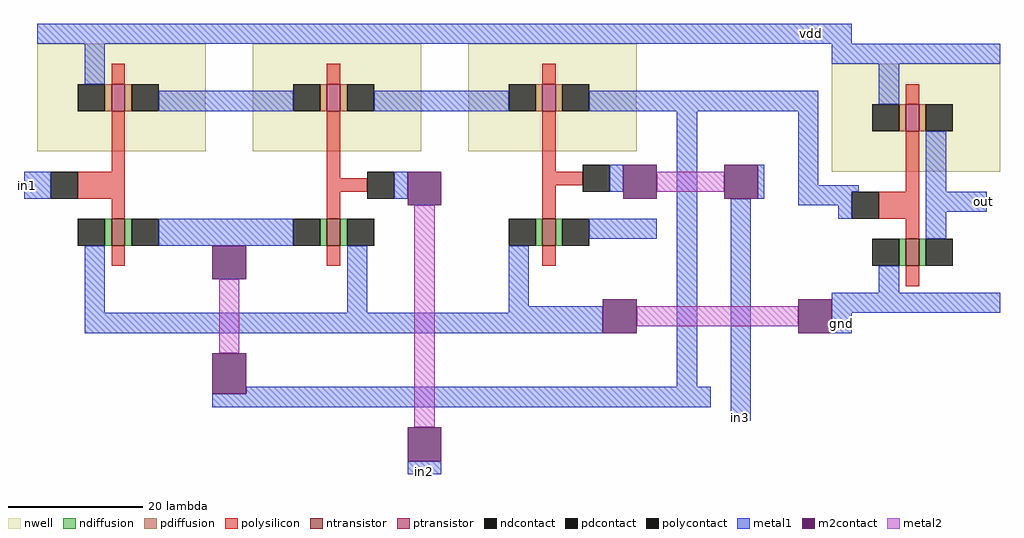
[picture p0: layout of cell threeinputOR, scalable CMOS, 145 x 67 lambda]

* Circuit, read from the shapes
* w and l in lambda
.subckt threeinputOR gnd in1 in2 in3 out vdd
M1 not_0/in in1 gnd VSUBS nfet w=4 l=2
M2 gnd in2 not_0/in VSUBS nfet w=4 l=2
M3 n1 in3 gnd VSUBS nfet w=4 l=2
M4 out not_0/in gnd VSUBS nfet w=4 l=2
M5 n2 in1 vdd n3 pfet w=4 l=2
M6 n4 in2 n2 n5 pfet w=4 l=2
M7 not_0/in in3 n4 n6 pfet w=4 l=2
M8 out not_0/in vdd n7 pfet w=4 l=2
.ends

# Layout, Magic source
magic
tech scmos
<< metal1 >>
rect 90 63 122 66
rect 99 53 117 56
rect -1 40 0 44
rect 114 42 117 53
rect 114 41 123 42
rect 74 20 85 24
rect 104 7 107 40
rect 114 39 120 41
rect 141 38 142 41
rect 119 25 120 26
rect 119 20 122 25
rect 56 -1 61 0
<< m2contact >>
rect 85 20 90 25
rect 114 20 119 25
<< metal2 >>
rect 90 21 114 24
use threeinputNOR  threeinputNOR_0
transform 1 0 1 0 1 47
box -1 -47 108 19
use not  not_0
transform 1 0 119 0 1 44
box 0 -21 25 19
<< labels >>
rlabel metal1 104 7 107 8 1 in3
rlabel metal1 56 -1 61 0 1 in2
rlabel metal1 -1 40 0 44 3 in1
rlabel metal1 111 63 121 66 5 vdd
rlabel metal1 119 20 122 23 1 gnd
rlabel metal1 141 38 142 41 7 out
<< end >>

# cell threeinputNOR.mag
magic
tech scmos
<< nwell >>
rect 0 0 25 16
rect 32 0 57 16
rect 64 0 89 16
<< ntransistor >>
rect 11 -14 13 -10
rect 43 -14 45 -10
rect 75 -14 77 -10
<< ptransistor >>
rect 11 6 13 10
rect 43 6 45 10
rect 75 6 77 10
<< ndiffusion >>
rect 10 -14 11 -10
rect 13 -14 14 -10
rect 42 -14 43 -10
rect 45 -14 46 -10
rect 74 -14 75 -10
rect 77 -14 78 -10
<< pdiffusion >>
rect 10 6 11 10
rect 13 6 14 10
rect 42 6 43 10
rect 45 6 46 10
rect 74 6 75 10
rect 77 6 78 10
<< ndcontact >>
rect 6 -14 10 -10
rect 14 -14 18 -10
rect 38 -14 42 -10
rect 46 -14 50 -10
rect 70 -14 74 -10
rect 78 -14 82 -10
<< pdcontact >>
rect 6 6 10 10
rect 14 6 18 10
rect 38 6 42 10
rect 46 6 50 10
rect 70 6 74 10
rect 78 6 82 10
<< polysilicon >>
rect 11 10 13 13
rect 43 10 45 13
rect 75 10 77 13
rect 11 -3 13 6
rect 6 -7 13 -3
rect 11 -10 13 -7
rect 43 -4 45 6
rect 75 -3 77 6
rect 43 -6 49 -4
rect 43 -10 45 -6
rect 75 -5 81 -3
rect 75 -10 77 -5
rect 11 -17 13 -14
rect 43 -17 45 -14
rect 75 -17 77 -14
<< polycontact >>
rect 2 -7 6 -3
rect 49 -7 53 -3
rect 81 -6 85 -2
<< metal1 >>
rect 0 16 89 19
rect 7 10 10 16
rect 18 6 38 9
rect 50 6 70 9
rect 82 6 98 9
rect -1 -7 2 -3
rect 53 -7 55 -3
rect 85 -6 87 -2
rect 18 -14 38 -10
rect 82 -13 92 -10
rect 7 -24 10 -14
rect 46 -24 49 -14
rect 70 -24 73 -14
rect 7 -27 73 -24
rect 95 -35 98 6
rect 107 -7 108 -2
rect 31 -36 100 -35
rect 26 -38 100 -36
rect 55 -47 60 -46
<< m2contact >>
rect 55 -8 60 -3
rect 87 -7 92 -2
rect 26 -19 31 -14
rect 26 -36 31 -30
rect 102 -7 107 -2
rect 55 -46 60 -41
<< metal2 >>
rect 92 -6 102 -3
rect 27 -30 30 -19
rect 56 -41 59 -8
<< labels >>
rlabel metal1 0 16 57 19 5 vdd
rlabel metal1 0 -7 2 -3 3 in1
rlabel space 0 -27 50 -24 1 gnd
rlabel metal1 7 -27 49 -24 1 gnd
rlabel metal1 7 -27 15 -24 1 gnd
rlabel metal1 25 16 33 19 5 vdd
rlabel metal1 31 -38 60 -35 1 out
rlabel metal1 57 16 89 19 5 vdd
rlabel metal1 55 -47 60 -46 1 in2
rlabel space 107 -7 108 -1 7 in3
rlabel metal1 95 6 98 9 1 out
<< end >>

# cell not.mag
magic
tech scmos
<< nwell >>
rect 0 0 25 16
<< ntransistor >>
rect 11 -14 13 -10
<< ptransistor >>
rect 11 6 13 10
<< ndiffusion >>
rect 10 -14 11 -10
rect 13 -14 14 -10
<< pdiffusion >>
rect 10 6 11 10
rect 13 6 14 10
<< ndcontact >>
rect 6 -14 10 -10
rect 14 -14 18 -10
<< pdcontact >>
rect 6 6 10 10
rect 14 6 18 10
<< polysilicon >>
rect 11 10 13 13
rect 11 -3 13 6
rect 7 -7 13 -3
rect 11 -10 13 -7
rect 11 -17 13 -14
<< polycontact >>
rect 3 -7 7 -3
<< metal1 >>
rect 0 16 25 19
rect 7 10 10 16
rect 14 -3 17 6
rect 1 -7 3 -3
rect 14 -6 22 -3
rect 14 -10 17 -6
rect 7 -18 10 -14
rect 1 -21 25 -18
<< labels >>
rlabel metal1 0 16 25 19 5 vdd
rlabel metal1 17 -6 22 -3 1 out
rlabel metal1 1 -7 3 -3 3 in
rlabel metal1 1 -21 25 -18 1 gnd
<< end >>
